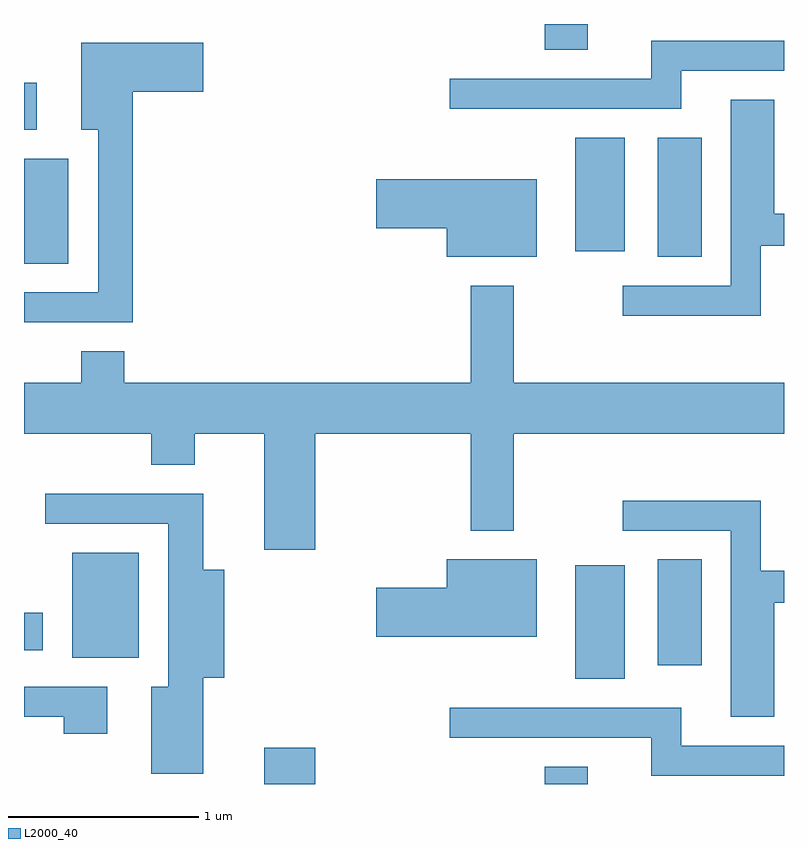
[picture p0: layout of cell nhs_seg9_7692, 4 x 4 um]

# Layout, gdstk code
import gdstk
lib = gdstk.Library(unit=1e-6, precision=1e-09)
def R(c, l, rs):  # rectangles x0, y0, x1, y1
    for r in rs: c.add(gdstk.rectangle(r[:2], r[2:], *l))
def P(c, l, *ps):  # polygons
    for p in ps: c.add(gdstk.Polygon(p, *l))
L2000_40 = (2000, 40)

nhs_seg9_7692 = lib.new_cell('nhs_seg9_7692')
R(nhs_seg9_7692, L2000_40, [(414.876,1974.432,415.144,1974.624), (416.351,1974.432,416.579,1974.524), (416.511,1974.986,416.774,1975.584), (416.946,1975.056,417.179,1975.614), (413.866,1975.096,414.214,1975.649), (413.611,1975.136,413.709,1975.334), (413.611,1977.171,413.844,1977.724), (416.946,1977.206,417.179,1977.834), (416.511,1977.236,416.774,1977.834), (413.611,1977.876,413.679,1978.124), (416.351,1978.296,416.579,1978.432)])
P(nhs_seg9_7692, L2000_40, [(417.069,1978.186),(417.611,1978.186),(417.611,1978.344),(416.911,1978.344),(416.911,1978.144),(415.853,1978.144),(415.853,1977.986),(417.069,1977.986)],
  [(414.184,1978.076),(414.554,1978.076),(414.554,1978.334),(413.911,1978.334),(413.911,1977.876),(414.001,1977.876),(414.001,1977.019),(413.611,1977.019),(413.611,1976.861),(414.184,1976.861)],
  [(417.489,1977.266),(417.611,1977.266),(417.611,1977.434),(417.559,1977.434),(417.559,1978.034),(417.331,1978.034),(417.331,1977.054),(416.763,1977.054),(416.763,1976.896),(417.489,1976.896)],
  [(416.309,1977.614),(415.466,1977.614),(415.466,1977.356),(415.836,1977.356),(415.836,1977.206),(416.309,1977.206)],
  [(415.144,1976.276),(415.961,1976.276),(415.961,1975.766),(416.189,1975.766),(416.189,1976.276),(417.611,1976.276),(417.611,1976.544),(416.189,1976.544),(416.189,1977.054),(415.961,1977.054),(415.961,1976.544),(414.139,1976.544),(414.139,1976.709),(413.911,1976.709),(413.911,1976.544),(413.611,1976.544),(413.611,1976.276),(414.281,1976.276),(414.281,1976.111),(414.509,1976.111),(414.509,1976.276),(414.876,1976.276),(414.876,1975.666),(415.144,1975.666)],
  [(414.554,1974.991),(414.664,1974.991),(414.664,1975.559),(414.554,1975.559),(414.554,1975.959),(413.723,1975.959),(413.723,1975.801),(414.371,1975.801),(414.371,1974.944),(414.281,1974.944),(414.281,1974.486),(414.554,1974.486)],
  [(417.559,1975.386),(417.611,1975.386),(417.611,1975.554),(417.489,1975.554),(417.489,1975.924),(416.763,1975.924),(416.763,1975.766),(417.331,1975.766),(417.331,1974.786),(417.559,1974.786)],
  [(416.309,1975.614),(415.836,1975.614),(415.836,1975.464),(415.466,1975.464),(415.466,1975.206),(416.309,1975.206)],
  [(414.049,1974.944),(413.611,1974.944),(413.611,1974.786),(413.821,1974.786),(413.821,1974.696),(414.049,1974.696)],
  [(417.611,1974.634),(417.069,1974.634),(417.069,1974.834),(415.853,1974.834),(415.853,1974.676),(416.911,1974.676),(416.911,1974.476),(417.611,1974.476)])

lib.write_gds('nhs_seg9_7692.gds')
